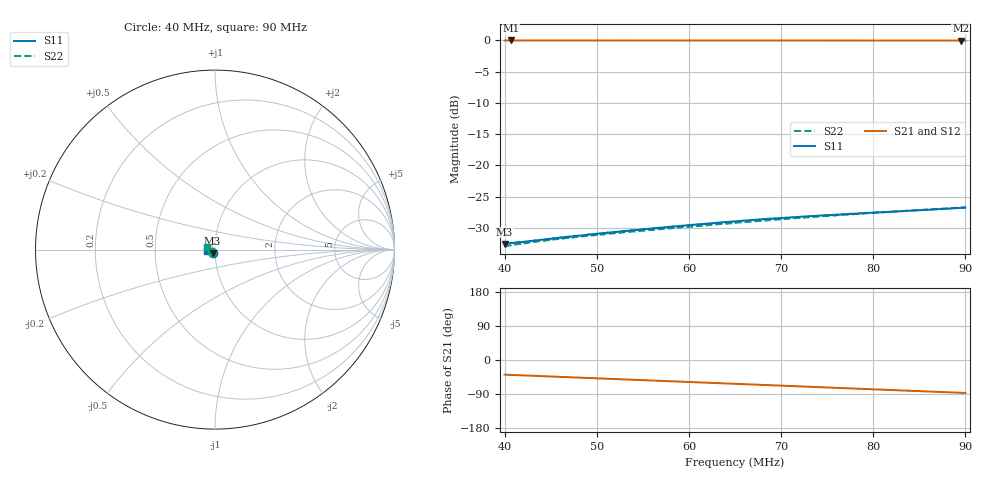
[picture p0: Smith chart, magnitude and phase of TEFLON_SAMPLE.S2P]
!Agilent Technologies,E5061B,MY49102235,A.02.00
!Date: Thu Jun 29 15:22:06 2023
!Data & Calibration Information:
!Freq	S11:SOLT2(ON)	S21:SOLT2(ON)	S12:SOLT2(ON)	S22:SOLT2(ON)
# Hz S dB R 50
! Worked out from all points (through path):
!   1600 points, 40 MHz to 90 MHz, reference 50 ohm
!   highest |S21| = 0.00 dB at 40.69 MHz (marker M1); lowest = 0.0 dB at 89.5 MHz (marker M2)
!   group delay of S21, straight-line fit = 2.68 ns
!   lowest |S11| = -32.6 dB at 40 MHz (marker M3), VSWR 1.05, Z = 48.6 - j1.85 ohm
!   |S11| at or under -10 dB: start of sweep to end of sweep
!   |S22| runs from -32.9 to -26.7 dB; largest |S21 - S12| = 0.00075
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4e7  -32.57 -126.1  -0.00 -38.7  -0.00 -38.7  -32.92 -141.1
4.025016e7  -32.51 -126.3  -0.00 -38.9  -0.00 -38.9  -32.85 -141.3
4.068793e7  -32.45 -126.7  -0.00 -39.3  -0.00 -39.3  -32.78 -141.8
4.312695e7  -32.09 -128.7  -0.00 -41.7  -0.00 -41.7  -32.25 -145.2
4.444028e7  -31.84 -129.6  -0.00 -43.0  -0.00 -43.0  -32.01 -146.9
4.681676e7  -31.47 -131.7  -0.00 -45.3  -0.01 -45.3  -31.62 -149.9
4.834897e7  -31.22 -132.7  -0.01 -46.7  -0.01 -46.7  -31.39 -152.0
5.000625e7  -30.94 -134.2  -0.01 -48.3  -0.01 -48.3  -31.13 -154.1
5.225766e7  -30.62 -136.0  -0.01 -50.5  -0.01 -50.5  -30.82 -156.8
5.666667e7  -30.01 -139.4  -0.01 -54.8  -0.01 -54.8  -30.22 -162.5
6.082552e7  -29.46 -143.1  -0.01 -58.8  -0.01 -58.8  -29.73 -167.0
6.501563e7  -28.94 -147.2  -0.01 -62.8  -0.01 -62.8  -29.21 -171.6
6.654784e7  -28.78 -148.8  -0.01 -64.3  -0.01 -64.3  -29.03 -173.1
6.901814e7  -28.52 -151.3  -0.01 -66.7  -0.01 -66.7  -28.74 -175.8
7.033146e7  -28.40 -152.7  -0.01 -68.0  -0.01 -68.0  -28.59 -177.3
7.33646e7  -28.10 -155.7  -0.01 -70.9  -0.01 -70.9  -28.24 179.5
7.746091e7  -27.81 -160.1  -0.01 -74.9  -0.01 -74.9  -27.84 175.2
8.115072e7  -27.48 -163.6  -0.01 -78.5  -0.01 -78.5  -27.50 171.1
8.16823e7  -27.44 -164.2  -0.01 -79.0  -0.01 -79.0  -27.44 170.6
8.596623e7  -27.12 -168.5  -0.02 -83.1  -0.02 -83.1  -27.08 165.8
8.949969e7  -26.83 -172.2  -0.02 -86.5  -0.02 -86.5  -26.75 162.0
9e7  -26.77 -172.6  -0.02 -87.0  -0.02 -87.0  -26.70 161.4
